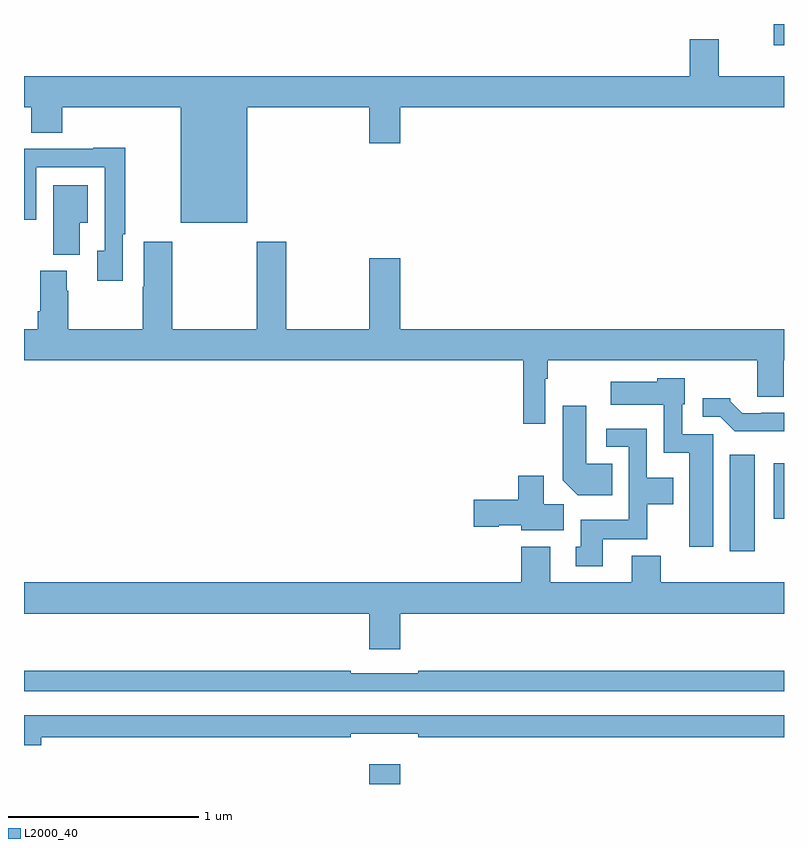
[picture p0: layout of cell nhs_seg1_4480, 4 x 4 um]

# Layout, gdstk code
import gdstk
lib = gdstk.Library(unit=1e-6, precision=1e-09)
def R(c, l, rs):  # rectangles x0, y0, x1, y1
    for r in rs: c.add(gdstk.rectangle(r[:2], r[2:], *l))
def P(c, l, *ps):  # polygons
    for p in ps: c.add(gdstk.Polygon(p, *l))
L2000_40 = (2000, 40)

nhs_seg1_4480 = lib.new_cell('nhs_seg1_4480')
R(nhs_seg1_4480, L2000_40, [(356.816,520.199,356.98,520.303), (358.715,521.424,358.846,521.932), (358.946,521.594,359,521.887), (358.946,524.088,359,524.199)])
P(nhs_seg1_4480, L2000_40, [(356.176,523.76),(356.816,523.76),(356.816,523.572),(356.98,523.572),(356.98,523.76),(359,523.76),(359,523.924),(358.657,523.924),(358.657,524.119),(358.505,524.119),(358.505,523.924),(355,523.924),(355,523.76),(355.037,523.76),(355.037,523.627),(355.202,523.627),(355.202,523.76),(355.826,523.76),(355.826,523.154),(356.176,523.154)],
  [(355.521,523.093),(355.534,523.093),(355.534,523.549),(355.365,523.549),(355.365,523.542),(355,523.542),(355,523.17),(355.065,523.17),(355.065,523.446),(355.425,523.446),(355.425,523.005),(355.385,523.005),(355.385,522.849),(355.521,522.849)],
  [(355.294,523.154),(355.336,523.154),(355.336,523.351),(355.154,523.351),(355.154,522.985),(355.294,522.985)],
  [(357.744,522.332),(357.757,522.332),(357.757,522.428),(358.859,522.428),(358.859,522.238),(358.999,522.238),(358.999,522.428),(359,522.428),(359,522.592),(356.98,522.592),(356.98,522.967),(356.816,522.967),(356.816,522.592),(356.379,522.592),(356.379,523.054),(356.224,523.054),(356.224,522.592),(355.779,522.592),(355.779,523.054),(355.631,523.054),(355.631,522.815),(355.624,522.815),(355.624,522.592),(355.233,522.592),(355.233,522.794),(355.225,522.794),(355.225,522.9),(355.085,522.9),(355.085,522.688),(355.073,522.688),(355.073,522.592),(355,522.592),(355,522.428),(357.628,522.428),(357.628,522.096),(357.744,522.096)],
  [(358.627,522.039),(358.464,522.039),(358.464,522.198),(358.477,522.198),(358.477,522.334),(358.332,522.334),(358.332,522.316),(358.089,522.316),(358.089,522.194),(358.368,522.194),(358.368,521.942),(358.502,521.942),(358.502,521.448),(358.627,521.448)],
  [(359,522.153),(358.879,522.153),(358.879,522.15),(358.78,522.15),(358.716,522.214),(358.716,522.229),(358.572,522.229),(358.572,522.132),(358.665,522.132),(358.741,522.056),(359,522.056)],
  [(358.097,521.884),(357.958,521.884),(357.958,522.19),(357.836,522.19),(357.836,521.798),(357.914,521.72),(358.097,521.72)],
  [(358.045,521.486),(358.281,521.486),(358.281,521.672),(358.417,521.672),(358.417,521.812),(358.278,521.812),(358.278,522.069),(358.065,522.069),(358.065,521.973),(358.182,521.973),(358.182,521.59),(357.929,521.59),(357.929,521.448),(357.905,521.448),(357.905,521.346),(358.045,521.346)],
  [(357.841,521.672),(357.736,521.672),(357.736,521.821),(357.602,521.821),(357.602,521.696),(357.366,521.696),(357.366,521.554),(357.498,521.554),(357.498,521.561),(357.618,521.561),(357.618,521.534),(357.841,521.534)],
  [(356.98,521.096),(359,521.096),(359,521.26),(358.352,521.26),(358.352,521.401),(358.199,521.401),(358.199,521.26),(357.769,521.26),(357.769,521.449),(357.617,521.449),(357.617,521.26),(355,521.26),(355,521.096),(356.816,521.096),(356.816,520.908),(356.98,520.908)],
  [(359,520.795),(357.076,520.795),(357.076,520.782),(356.72,520.782),(356.72,520.795),(355,520.795),(355,520.686),(359,520.686)],
  [(355.09,520.444),(356.72,520.444),(356.72,520.463),(357.076,520.463),(357.076,520.444),(359,520.444),(359,520.56),(355,520.56),(355,520.402),(355.09,520.402)])

lib.write_gds('nhs_seg1_4480.gds')
